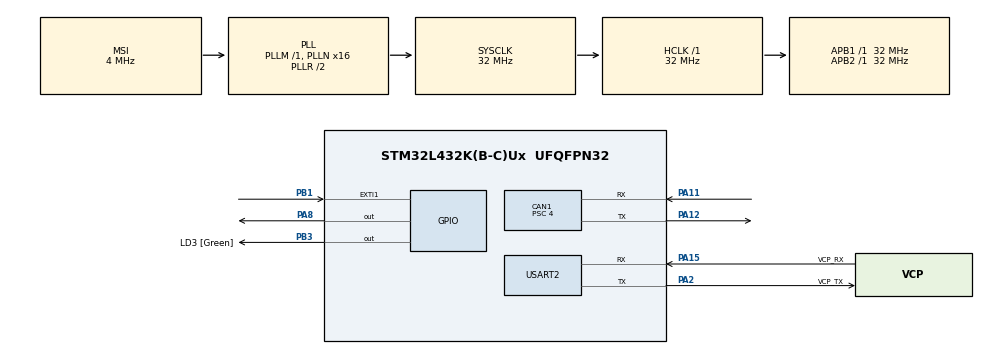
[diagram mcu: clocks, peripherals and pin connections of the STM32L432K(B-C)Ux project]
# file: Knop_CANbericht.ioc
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CAN1.BS1=CAN_BS1_13TQ
CAN1.BS2=CAN_BS2_2TQ
CAN1.CalculateBaudRate=500000
CAN1.CalculateTimeBit=2000
CAN1.CalculateTimeQuantum=125.0
CAN1.Mode=CAN_MODE_NORMAL
CAN1.NART=ENABLE
CAN1.Prescaler=4
Mcu.Family=STM32L4
Mcu.Name=STM32L432K(B-C)Ux
Mcu.Package=UFQFPN32
NVIC.PriorityGroup=NVIC_PRIORITYGROUP_4
PA0.GPIO_Label=MCO [High speed clock in]
PA0.Mode=HSE-External-Clock-Source-for-LittleOrca
PA0.Signal=RCC_CK_IN
PA11.Mode=CAN_Activate
PA11.Signal=CAN1_RX
PA12.Mode=CAN_Activate
PA12.Signal=CAN1_TX
PA13\ (JTMS-SWDIO).GPIO_Label=SWDIO
PA13\ (JTMS-SWDIO).Mode=Serial_Wire
PA13\ (JTMS-SWDIO).Signal=SYS_JTMS-SWDIO
PA14\ (JTCK-SWCLK).GPIO_Label=SWCLK
PA14\ (JTCK-SWCLK).Mode=Serial_Wire
PA14\ (JTCK-SWCLK).Signal=SYS_JTCK-SWCLK
PA15\ (JTDI).GPIO_Label=VCP_RX
PA15\ (JTDI).Mode=Asynchronous
PA15\ (JTDI).Signal=USART2_RX
PA2.GPIO_Label=VCP_TX
PA2.Mode=Asynchronous
PA2.Signal=USART2_TX
PA8.Signal=GPIO_Output
PB1.GPIO_ModeDefaultEXTI=GPIO_MODE_IT_RISING
PB1.GPIO_PuPd=GPIO_NOPULL
PB1.Signal=GPXTI1
PB3\ (JTDO-TRACESWO).GPIO_Label=LD3 [Green]
PB3\ (JTDO-TRACESWO).Signal=GPIO_Output
PC14-OSC32_IN\ (PC14).Mode=LSE-External-Oscillator
PC14-OSC32_IN\ (PC14).Signal=RCC_OSC32_IN
PC15-OSC32_OUT\ (PC15).Mode=LSE-External-Oscillator
PC15-OSC32_OUT\ (PC15).Signal=RCC_OSC32_OUT
ProjectManager.HeapSize=0x200
ProjectManager.StackSize=0x400
ProjectManager.TargetToolchain=STM32CubeIDE
RCC.AHBFreq_Value=32000000
RCC.APB1Freq_Value=32000000
RCC.APB1TimFreq_Value=32000000
RCC.APB2Freq_Value=32000000
RCC.APB2TimFreq_Value=32000000
RCC.CortexFreq_Value=32000000
RCC.HCLKFreq_Value=32000000
RCC.HSE_VALUE=8000000
RCC.HSI16_VALUE=16000000
RCC.HSI48_VALUE=48000000
RCC.HSI_VALUE=16000000
RCC.MSI_VALUE=4000000
RCC.PLLMUL=RCC_PLLMUL_4
RCC.PLLN=16
RCC.SYSCLKFreq_VALUE=32000000
RCC.SYSCLKSource=RCC_SYSCLKSOURCE_PLLCLK
RCC.VCOOutputFreq_Value=64000000
USART2.VirtualMode-Asynchronous=VM_ASYNC
board=NUCLEO-L432KC

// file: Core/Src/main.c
/* USER CODE BEGIN Header */
/**
  ******************************************************************************
  * @file           : main.c
  * @brief          : Main program body
  ******************************************************************************
  * @attention
  *
  * Copyright (c) 2026 STMicroelectronics.
  * All rights reserved.
  *
  * This software is licensed under terms that can be found in the LICENSE file
  * in the root directory of this software component.
  * If no LICENSE file comes with this software, it is provided AS-IS.
  *
  ******************************************************************************
  */
/* USER CODE END Header */
#include "main.h"

CAN_HandleTypeDef hcan1;

UART_HandleTypeDef huart2;

void SystemClock_Config(void);
static void MX_GPIO_Init(void);
static void MX_CAN1_Init(void);
static void MX_USART2_UART_Init(void);
/* USER CODE BEGIN PFP */
void HAL_GPIO_EXTI_Callback(uint16_t GPIO_Pin);
void Send_CAN_Button(uint8_t button_id);
/* USER CODE END PFP */

/* USER CODE BEGIN 0 */
uint32_t last_button_press = 0;
/* USER CODE END 0 */

int main(void)
{

  /* MCU Configuration--------------------------------------------------------*/

  /* Reset of all peripherals, Initializes the Flash interface and the Systick. */
  HAL_Init();

  /* Configure the system clock */
  SystemClock_Config();

  /* Initialize all configured peripherals */
  MX_GPIO_Init();
  MX_CAN1_Init();
  MX_USART2_UART_Init();
  /* USER CODE BEGIN 2 */

  // CAN filter
  CAN_FilterTypeDef filter;

  filter.FilterBank = 0;
  filter.FilterMode = CAN_FILTERMODE_IDMASK;
  filter.FilterScale = CAN_FILTERSCALE_32BIT;
  filter.FilterIdHigh = 0x0000;
  filter.FilterIdLow = 0x0000;
  filter.FilterMaskIdHigh = 0x0000;
  filter.FilterMaskIdLow = 0x0000;
  filter.FilterFIFOAssignment = CAN_RX_FIFO0;
  filter.FilterActivation = ENABLE;

  HAL_CAN_ConfigFilter(&hcan1, &filter);

  // Start CAN
  HAL_CAN_Start(&hcan1);

  //EXTI1 interrupt voor PB_1
  HAL_NVIC_SetPriority(EXTI1_IRQn, 0, 0);
  HAL_NVIC_EnableIRQ(EXTI1_IRQn);

  /* USER CODE END 2 */

  /* Infinite loop */
  /* USER CODE BEGIN WHILE */

  GPIO_PinState lastState = GPIO_PIN_RESET;

  while (1)
  {
      // Activeer de lijn via PA8
      HAL_GPIO_WritePin(GPIOA, GPIO_PIN_8, GPIO_PIN_SET);
      HAL_Delay(2);

      GPIO_PinState currentState = HAL_GPIO_ReadPin(GPIOB, GPIO_PIN_1);

      // Detecteer druk (rising edge)
      if (currentState == GPIO_PIN_SET && lastState == GPIO_PIN_RESET)
      {
          char msg[] = "1\r\n";
          HAL_UART_Transmit(&huart2, (uint8_t*)msg, sizeof(msg)-1, 100);

          HAL_Delay(200); // debounce
      }

      lastState = currentState;

      // Zet PA8 terug
      HAL_GPIO_WritePin(GPIOA, GPIO_PIN_8, GPIO_PIN_RESET);

      HAL_Delay(10);

    /* USER CODE END WHILE */

  }
}

void SystemClock_Config(void)
{
  RCC_OscInitTypeDef RCC_OscInitStruct = {0};
  RCC_ClkInitTypeDef RCC_ClkInitStruct = {0};

  /** Configure the main internal regulator output voltage
  */
  if (HAL_PWREx_ControlVoltageScaling(PWR_REGULATOR_VOLTAGE_SCALE1) != HAL_OK)
  {
    Error_Handler();
  }

  /** Configure LSE Drive Capability
  */
  HAL_PWR_EnableBkUpAccess();
  __HAL_RCC_LSEDRIVE_CONFIG(RCC_LSEDRIVE_LOW);

  /** Initializes the RCC Oscillators according to the specified parameters
  * in the RCC_OscInitTypeDef structure.
  */
  RCC_OscInitStruct.OscillatorType = RCC_OSCILLATORTYPE_LSE|RCC_OSCILLATORTYPE_MSI;
  RCC_OscInitStruct.LSEState = RCC_LSE_ON;
  RCC_OscInitStruct.MSIState = RCC_MSI_ON;
  RCC_OscInitStruct.MSICalibrationValue = 0;
  RCC_OscInitStruct.MSIClockRange = RCC_MSIRANGE_6;
  RCC_OscInitStruct.PLL.PLLState = RCC_PLL_ON;
  RCC_OscInitStruct.PLL.PLLSource = RCC_PLLSOURCE_MSI;
  RCC_OscInitStruct.PLL.PLLM = 1;
  RCC_OscInitStruct.PLL.PLLN = 16;
  RCC_OscInitStruct.PLL.PLLP = RCC_PLLP_DIV7;
  RCC_OscInitStruct.PLL.PLLQ = RCC_PLLQ_DIV2;
  RCC_OscInitStruct.PLL.PLLR = RCC_PLLR_DIV2;
  if (HAL_RCC_OscConfig(&RCC_OscInitStruct) != HAL_OK)
  {
    Error_Handler();
  }

  /** Initializes the CPU, AHB and APB buses clocks
  */
  RCC_ClkInitStruct.ClockType = RCC_CLOCKTYPE_HCLK|RCC_CLOCKTYPE_SYSCLK
                              |RCC_CLOCKTYPE_PCLK1|RCC_CLOCKTYPE_PCLK2;
  RCC_ClkInitStruct.SYSCLKSource = RCC_SYSCLKSOURCE_PLLCLK;
  RCC_ClkInitStruct.AHBCLKDivider = RCC_SYSCLK_DIV1;
  RCC_ClkInitStruct.APB1CLKDivider = RCC_HCLK_DIV1;
  RCC_ClkInitStruct.APB2CLKDivider = RCC_HCLK_DIV1;

  if (HAL_RCC_ClockConfig(&RCC_ClkInitStruct, FLASH_LATENCY_1) != HAL_OK)
  {
    Error_Handler();
  }

  /** Enable MSI Auto calibration
  */
  HAL_RCCEx_EnableMSIPLLMode();
}

static void MX_CAN1_Init(void)
{

  hcan1.Instance = CAN1;
  hcan1.Init.Prescaler = 4;
  hcan1.Init.Mode = CAN_MODE_NORMAL;
  hcan1.Init.SyncJumpWidth = CAN_SJW_1TQ;
  hcan1.Init.TimeSeg1 = CAN_BS1_13TQ;
  hcan1.Init.TimeSeg2 = CAN_BS2_2TQ;
  hcan1.Init.TimeTriggeredMode = DISABLE;
  hcan1.Init.AutoBusOff = DISABLE;
  hcan1.Init.AutoWakeUp = DISABLE;
  hcan1.Init.AutoRetransmission = ENABLE;
  hcan1.Init.ReceiveFifoLocked = DISABLE;
  hcan1.Init.TransmitFifoPriority = DISABLE;
  if (HAL_CAN_Init(&hcan1) != HAL_OK)
  {
    Error_Handler();
  }

}

static void MX_USART2_UART_Init(void)
{

  huart2.Instance = USART2;
  huart2.Init.BaudRate = 115200;
  huart2.Init.WordLength = UART_WORDLENGTH_8B;
  huart2.Init.StopBits = UART_STOPBITS_1;
  huart2.Init.Parity = UART_PARITY_NONE;
  huart2.Init.Mode = UART_MODE_TX_RX;
  huart2.Init.HwFlowCtl = UART_HWCONTROL_NONE;
  huart2.Init.OverSampling = UART_OVERSAMPLING_16;
  huart2.Init.OneBitSampling = UART_ONE_BIT_SAMPLE_DISABLE;
  huart2.AdvancedInit.AdvFeatureInit = UART_ADVFEATURE_NO_INIT;
  if (HAL_UART_Init(&huart2) != HAL_OK)
  {
    Error_Handler();
  }

}

static void MX_GPIO_Init(void)
{
  GPIO_InitTypeDef GPIO_InitStruct = {0};

  /* GPIO Ports Clock Enable */
  __HAL_RCC_GPIOC_CLK_ENABLE();
  __HAL_RCC_GPIOA_CLK_ENABLE();
  __HAL_RCC_GPIOB_CLK_ENABLE();

  /*Configure GPIO pin Output Level */
  HAL_GPIO_WritePin(GPIOA, GPIO_PIN_8, GPIO_PIN_RESET);

  /*Configure GPIO pin Output Level */
  HAL_GPIO_WritePin(LD3_GPIO_Port, LD3_Pin, GPIO_PIN_RESET);

  /*Configure GPIO pin : PB1 */
  GPIO_InitStruct.Pin = GPIO_PIN_1;
  GPIO_InitStruct.Mode = GPIO_MODE_IT_RISING;
  GPIO_InitStruct.Pull = GPIO_NOPULL;
  HAL_GPIO_Init(GPIOB, &GPIO_InitStruct);

  /*Configure GPIO pin : PA8 */
  GPIO_InitStruct.Pin = GPIO_PIN_8;
  GPIO_InitStruct.Mode = GPIO_MODE_OUTPUT_PP;
  GPIO_InitStruct.Pull = GPIO_NOPULL;
  GPIO_InitStruct.Speed = GPIO_SPEED_FREQ_LOW;
  HAL_GPIO_Init(GPIOA, &GPIO_InitStruct);

  /*Configure GPIO pin : LD3_Pin */
  GPIO_InitStruct.Pin = LD3_Pin;
  GPIO_InitStruct.Mode = GPIO_MODE_OUTPUT_PP;
  GPIO_InitStruct.Pull = GPIO_NOPULL;
  GPIO_InitStruct.Speed = GPIO_SPEED_FREQ_LOW;
  HAL_GPIO_Init(LD3_GPIO_Port, &GPIO_InitStruct);

}

/* USER CODE BEGIN 4 */
void HAL_GPIO_EXTI_Callback(uint16_t GPIO_Pin) {
    if (GPIO_Pin == GPIO_PIN_1) { // PB1 is ingedrukt (rising edge)
        uint32_t current_time = HAL_GetTick();
        if (current_time - last_button_press > 200) {
            last_button_press = current_time;
            Send_CAN_Button(1);
        }
    }
}

void Send_CAN_Button(uint8_t button_id) {
    CAN_TxHeaderTypeDef TxHeader;
    uint8_t TxData[8];
    uint32_t TxMailbox;

    TxHeader.StdId = 0x1F4; // CAN-ID
    TxHeader.ExtId = 0;
    TxHeader.IDE = CAN_ID_STD;
    TxHeader.RTR = CAN_RTR_DATA;
    TxHeader.DLC = 2; // 2 bytes data

    TxData[0] = button_id; // Button ID
    TxData[1] = 1;        // Pressed

    // Wacht tot er een vrije mailbox is

    if (HAL_CAN_GetTxMailboxesFreeLevel(&hcan1) > 0) {
        HAL_CAN_AddTxMessage(&hcan1, &TxHeader, TxData, &TxMailbox);
    }

}
/* USER CODE END 4 */

void Error_Handler(void)
{
  __disable_irq();
  while (1)
  {
  }
}
